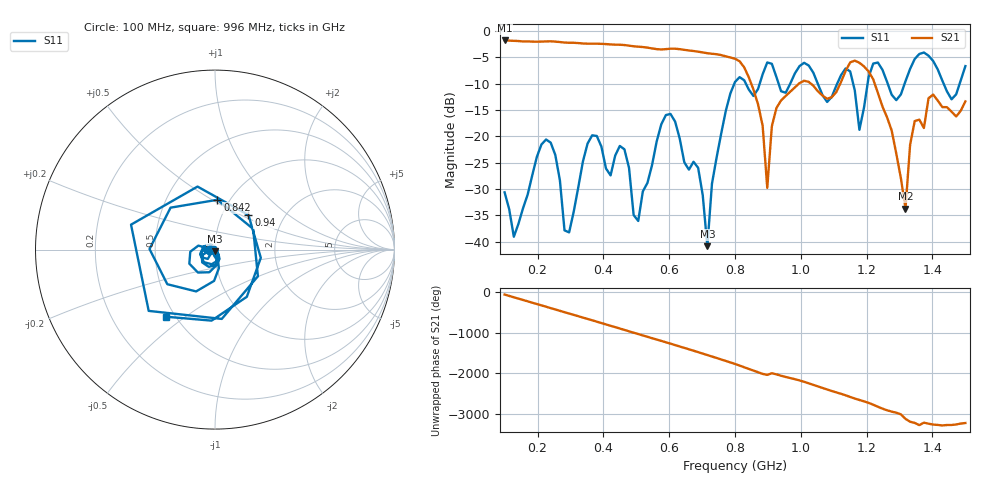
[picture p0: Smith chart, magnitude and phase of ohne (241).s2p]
! NanoVNA-App
! Date: 2025-09-25 14:22:40
! Start: 100MHz Stop: 1,5GHz Points: 101
! S-Parameter data: F S11 S21 S12 S22
# Hz S RI R 50
!  Frequency  S11_Real  S11_Imag  S21_Real  S21_Imag  S12_Real  S12_Imag  S22_Real  S22_Imag
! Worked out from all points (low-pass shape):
!   101 points, 100 MHz to 1.5 GHz, reference 50 ohm
!   highest |S21| = -1.79 dB at 100 MHz (marker M1); lowest = -33.7 dB at 1.318 GHz (marker M2)
!   |S21| within 3 dB of the highest: start of sweep to 771.2 MHz
!   lowest |S11| = -40.9 dB at 716 MHz (marker M3), VSWR 1.02, Z = 49.8 - j0.892 ohm
!   |S11| at or under -10 dB: start of sweep to 797.9 MHz; 833.1 MHz to 875.1 MHz (41.99 MHz wide, 4.92 % of centre); 1.051 GHz to 1.111 GHz (59.06 MHz wide, 5.46 % of centre) (the widest 3 of 7)
!   S12 and S22 are empty: the file has one direction only
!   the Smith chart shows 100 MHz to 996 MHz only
!   S11 on the Smith chart (normalised r, x): 100 MHz: 0.94, -0.01; 842 MHz: 0.88, +0.53; 940 MHz: 1.33, +0.55; 996 MHz: 0.44, -0.42
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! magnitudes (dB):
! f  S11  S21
! 100 MHz  -30.6  -1.8
! 128 MHz  -39.1  -1.9
! 226 MHz  -20.6  -2.0
! 296 MHz  -38.2  -2.2
! 338 MHz  -24.8  -2.4
! 464 MHz  -22.5  -2.7
! 506 MHz  -36.1  -3.0
! 576 MHz  -17.7  -3.5
! 688 MHz  -26.0  -3.9
! 716 MHz  -40.9  -4.2
! 800 MHz  -9.7  -5.3
! 842 MHz  -11.1  -8.8
! 898 MHz  -6.0  -29.8
! 940 MHz  -11.4  -13.2
! 996 MHz  -6.7  -9.9
! 1.038 GHz  -7.9  -10.4
! 1.178 GHz  -18.8  -6.0
! 1.22 GHz  -6.2  -9.2
! 1.276 GHz  -12.1  -18.9
! 1.318 GHz  -9.5  -33.7
! 1.346 GHz  -5.3  -17.1
! 1.5 GHz  -6.7  -13.4
